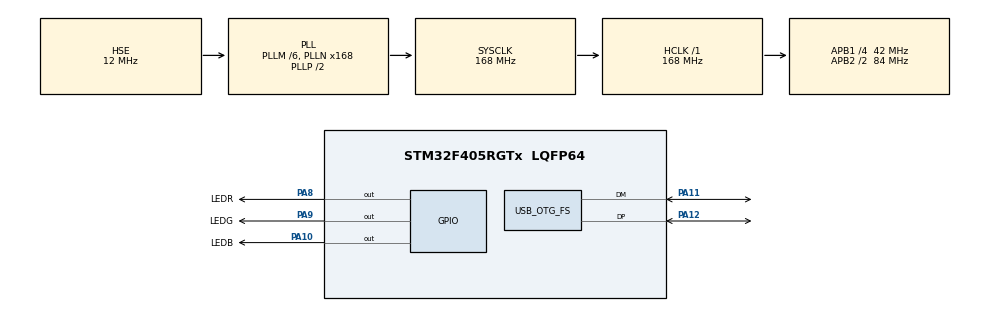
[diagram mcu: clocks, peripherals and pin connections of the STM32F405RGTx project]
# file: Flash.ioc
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Mcu.Family=STM32F4
Mcu.Name=STM32F405RGTx
Mcu.Package=LQFP64
NVIC.OTG_FS_IRQn=true\:0\:0\:false\:false\:true\:false\:true\:true
NVIC.PriorityGroup=NVIC_PRIORITYGROUP_4
PA10.GPIO_Label=LEDB
PA10.Signal=GPIO_Output
PA11.Mode=Device_Only
PA11.Signal=USB_OTG_FS_DM
PA12.Mode=Device_Only
PA12.Signal=USB_OTG_FS_DP
PA13.Mode=JTAG_4_pins
PA13.Signal=SYS_JTMS-SWDIO
PA14.Mode=JTAG_4_pins
PA14.Signal=SYS_JTCK-SWCLK
PA15.Mode=JTAG_4_pins
PA15.Signal=SYS_JTDI
PA8.GPIO_Label=LEDR
PA8.Signal=GPIO_Output
PA9.GPIO_Label=LEDG
PA9.Signal=GPIO_Output
PB3.Mode=JTAG_4_pins
PB3.Signal=SYS_JTDO-SWO
PH0-OSC_IN.Mode=HSE-External-Oscillator
PH0-OSC_IN.Signal=RCC_OSC_IN
PH1-OSC_OUT.Mode=HSE-External-Oscillator
PH1-OSC_OUT.Signal=RCC_OSC_OUT
ProjectManager.HeapSize=0x200
ProjectManager.StackSize=0x400
ProjectManager.TargetToolchain=MDK-ARM V5.32
RCC.48MHZClocksFreq_Value=48000000
RCC.AHBFreq_Value=168000000
RCC.APB1CLKDivider=RCC_HCLK_DIV4
RCC.APB1Freq_Value=42000000
RCC.APB1TimFreq_Value=84000000
RCC.APB2CLKDivider=RCC_HCLK_DIV2
RCC.APB2Freq_Value=84000000
RCC.APB2TimFreq_Value=168000000
RCC.CortexFreq_Value=168000000
RCC.HCLKFreq_Value=168000000
RCC.HSE_VALUE=12000000
RCC.HSI_VALUE=16000000
RCC.LSE_VALUE=32768
RCC.PLLM=6
RCC.PLLN=168
RCC.PLLQ=7
RCC.SYSCLKFreq_VALUE=168000000
RCC.SYSCLKSource=RCC_SYSCLKSOURCE_PLLCLK
RCC.VCOOutputFreq_Value=336000000
USB_DEVICE.CLASS_NAME_FS=CDC
USB_DEVICE.VirtualMode-CDC_FS=Cdc
USB_DEVICE.VirtualModeFS=Cdc_FS
USB_OTG_FS.VirtualMode=Device_Only
VP_USB_DEVICE_VS_USB_DEVICE_CDC_FS.Mode=CDC_FS
board=custom

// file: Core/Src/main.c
/* USER CODE BEGIN Header */
/**
 ******************************************************************************
 * @file           : main.c
 * @brief          : Main program body
 ******************************************************************************
 * @attention
 *
 * Copyright (c) 2024 STMicroelectronics.
 * All rights reserved.
 *
 * This software is licensed under terms that can be found in the LICENSE file
 * in the root directory of this software component.
 * If no LICENSE file comes with this software, it is provided AS-IS.
 *
 ******************************************************************************
 */
/* USER CODE END Header */
#include "main.h"
#include "usb_device.h"
#include "gpio.h"

/* USER CODE BEGIN Includes */
#include <stdio.h>
#include <stdarg.h>
#include <string.h>

#include "usbd_cdc.h"
#include "usbd_cdc_if.h"
/* USER CODE END Includes */

/* USER CODE BEGIN PV */
char buf[256];
/* USER CODE END PV */

void SystemClock_Config(void);

/* USER CODE BEGIN 0 */
__ASM(".global text_start, text_end;"
      "text_start: "
      ".incbin \"../../text.txt\";"
      "text_end: ");

extern unsigned int text_start, text_end;

void usb_cdc_printf(const char *fmt, ...)
{
  uint32_t len;

  va_list arg;

  va_start(arg, fmt);
  len = vsnprintf(buf, sizeof(buf), fmt, arg);
  va_end(arg);

  CDC_Transmit_FS((uint8_t *)buf, len);
}

/* USER CODE END 0 */

int main(void)
{

  /* MCU Configuration--------------------------------------------------------*/

  /* Reset of all peripherals, Initializes the Flash interface and the Systick. */
  HAL_Init();

  /* Configure the system clock */
  SystemClock_Config();

  /* Initialize all configured peripherals */
  MX_GPIO_Init();
  MX_USB_DEVICE_Init();
  /* USER CODE BEGIN 2 */
  uint8_t *text_start_addr = (uint8_t *)&text_start;
  uint8_t *text_end_addr = (uint8_t *)&text_end;
  uint32_t text_length = text_end_addr - text_start_addr;

  HAL_GPIO_WritePin(LEDG_GPIO_Port, LEDG_Pin, GPIO_PIN_SET);

  usb_cdc_printf("hello world, pi = %f\r\n", 3.14159);

  usb_cdc_printf("text length = %d\r\n", text_length);

  /* USER CODE END 2 */

  /* Infinite loop */
  /* USER CODE BEGIN WHILE */
  while (1)
  {
    HAL_GPIO_TogglePin(LEDR_GPIO_Port, LEDR_Pin);
    HAL_GPIO_TogglePin(LEDG_GPIO_Port, LEDG_Pin);
    HAL_GPIO_TogglePin(LEDB_GPIO_Port, LEDB_Pin);

    CDC_Transmit_FS(text_start_addr, 1024);
    text_start_addr += 1024;
    if (text_end_addr - text_start_addr <= 1024)
    {
      CDC_Transmit_FS(text_start_addr, text_end_addr - text_start_addr);
      text_start_addr = (uint8_t *)&text_start;
    }

    HAL_Delay(1000);
    /* USER CODE END WHILE */

  }
}

void SystemClock_Config(void)
{
  RCC_OscInitTypeDef RCC_OscInitStruct = {0};
  RCC_ClkInitTypeDef RCC_ClkInitStruct = {0};

  /** Configure the main internal regulator output voltage
   */
  __HAL_RCC_PWR_CLK_ENABLE();
  __HAL_PWR_VOLTAGESCALING_CONFIG(PWR_REGULATOR_VOLTAGE_SCALE1);

  /** Initializes the RCC Oscillators according to the specified parameters
   * in the RCC_OscInitTypeDef structure.
   */
  RCC_OscInitStruct.OscillatorType = RCC_OSCILLATORTYPE_HSE;
  RCC_OscInitStruct.HSEState = RCC_HSE_ON;
  RCC_OscInitStruct.PLL.PLLState = RCC_PLL_ON;
  RCC_OscInitStruct.PLL.PLLSource = RCC_PLLSOURCE_HSE;
  RCC_OscInitStruct.PLL.PLLM = 6;
  RCC_OscInitStruct.PLL.PLLN = 168;
  RCC_OscInitStruct.PLL.PLLP = RCC_PLLP_DIV2;
  RCC_OscInitStruct.PLL.PLLQ = 7;
  if (HAL_RCC_OscConfig(&RCC_OscInitStruct) != HAL_OK)
  {
    Error_Handler();
  }

  /** Initializes the CPU, AHB and APB buses clocks
   */
  RCC_ClkInitStruct.ClockType = RCC_CLOCKTYPE_HCLK | RCC_CLOCKTYPE_SYSCLK | RCC_CLOCKTYPE_PCLK1 | RCC_CLOCKTYPE_PCLK2;
  RCC_ClkInitStruct.SYSCLKSource = RCC_SYSCLKSOURCE_PLLCLK;
  RCC_ClkInitStruct.AHBCLKDivider = RCC_SYSCLK_DIV1;
  RCC_ClkInitStruct.APB1CLKDivider = RCC_HCLK_DIV4;
  RCC_ClkInitStruct.APB2CLKDivider = RCC_HCLK_DIV2;

  if (HAL_RCC_ClockConfig(&RCC_ClkInitStruct, FLASH_LATENCY_5) != HAL_OK)
  {
    Error_Handler();
  }
}

void Error_Handler(void)
{
  __disable_irq();
  while (1)
  {
  }
}
